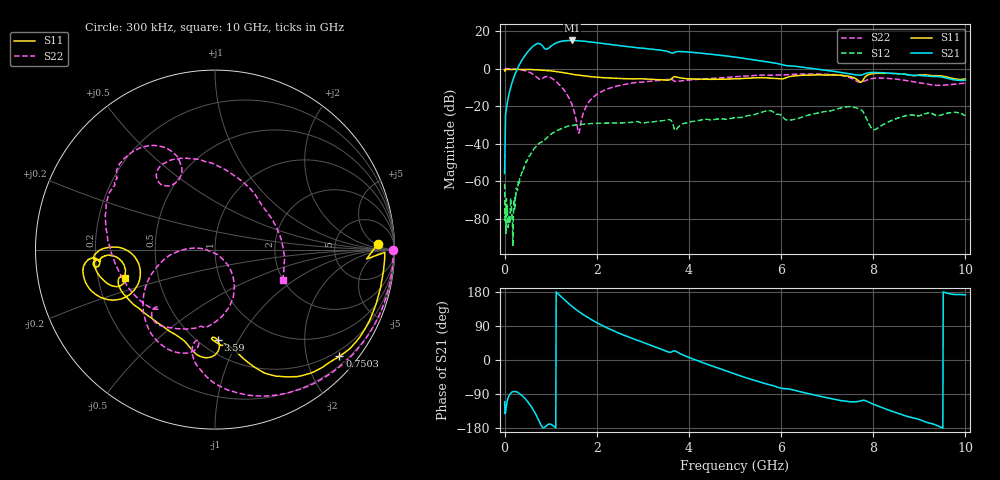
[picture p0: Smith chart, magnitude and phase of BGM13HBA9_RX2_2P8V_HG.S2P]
!Agilent Technologies,E5071C,MY46316587,B.13.01
!Date: Thu Dec 07 13:23:46 2017
!Data & Calibration Information:
!Freq	S11:SOLT2(ON)	S21:SOLT2(ON)	S12:SOLT2(ON)	S22:SOLT2(ON)
!PortZ  Port1:50+j0  Port2:50+j0
!Above PortZ is port z conversion or system Z0 setting when saving the data.
!When reading, reference impedance value at option line is always used.
# Hz S dB R 50
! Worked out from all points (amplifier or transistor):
!   1001 points, 300 kHz to 10 GHz, reference 50 ohm
!   highest |S21| = 14.9 dB at 1.46 GHz (marker M1)
!   |S21| within 3 dB of that: 1.009 GHz to 2.582 GHz (1.573 GHz wide, 87.6 % of centre) (the widest 1 of 2)
!   unconditionally stable (mu >= 1): start of sweep to end of sweep
!   at 1.66 GHz: K = 1.68, MAG = 17.3 dB, |S12| = -29.6 dB
!   at 5 GHz: K = 2.03, MAG = 10.3 dB, |S12| = -26.1 dB
!   at 10 GHz: K = 10.74, MAG = -3.9 dB, |S12| = -25.0 dB
!   lowest NFmin = 0.76 dB at 1.8 GHz
!   S11 on the Smith chart (normalised r, x): 300 kHz: 18, +6; 750.3 MHz: 0.37, -2.66; 3.59 GHz: 0.61, -0.83; 10 GHz: 0.32, -0.14
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300000  -0.84 2.0  -55.74 -110.2  -61.19 134.3  -0.06 0.0
1.00297e8  -0.49 -5.1  -13.08 -93.6  -78.00 -70.1  -0.09 -15.2
4.202874e8  -0.48 -22.1  6.17 -98.8  -52.85 -157.7  -1.02 -64.5
6.102817e8  -0.54 -32.8  11.69 -129.4  -43.46 176.5  -2.94 -93.5
6.802796e8  -0.63 -36.8  12.92 -144.1  -41.55 167.6  -4.22 -101.4
7.502775e8  -0.79 -40.6  13.25 -162.0  -39.80 159.0  -5.58 -102.3
8.302751e8  -0.95 -44.3  11.74 -178.4  -38.43 151.9  -5.15 -100.1
9.102727e8  -1.05 -48.2  10.26 -173.1  -36.94 149.1  -4.24 -112.8
1.070268e9  -1.44 -56.3  12.97 -175.0  -33.97 134.1  -5.96 -142.7
1.250262e9  -2.09 -63.8  14.53 164.3  -31.65 118.1  -10.25 -166.9
1.460256e9  -3.00 -70.3  14.91 141.8  -30.29 101.0  -19.00 175.3
1.590252e9  -3.49 -72.8  14.77 129.5  -29.84 92.2  -32.80 -146.0
1.67025e9  -3.76 -74.0  14.62 122.7  -29.65 87.9  -27.11 -56.2
1.970241e9  -4.54 -77.4  13.79 100.4  -29.17 74.1  -14.36 -57.7
2.400228e9  -5.18 -81.0  12.46 75.0  -28.95 63.5  -9.55 -77.0
3.3402e9  -5.94 -91.4  9.89 31.2  -27.88 52.2  -6.34 -113.7
3.590192e9  -5.92 -88.3  8.56 20.3  -27.23 34.9  -5.61 -128.4
4.120176e9  -5.59 -113.0  8.47 1.2  -28.01 57.5  -5.89 -147.3
5.00015e9  -5.46 -140.8  6.06 -37.1  -26.12 52.5  -4.39 173.3
6.6701e9  -3.42 -171.0  0.05 -90.9  -24.30 42.5  -2.92 133.4
8.34005e9  -2.55 -171.0  -2.41 -132.3  -28.25 29.9  -5.28 111.1
1e10  -5.55 -162.7  -6.15 171.7  -25.04 -50.4  -7.70 -23.9
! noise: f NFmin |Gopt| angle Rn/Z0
1.8e+09  0.7562  0.4622  58.04  0.1798
1.9e+09  0.78  0.4142  62.81  0.1852
2e+09  0.8437  0.3553  64.94  0.1874
2.1e+09  0.8812  0.3433  66.72  0.2077
2.2e+09  0.9029  0.4059  70.77  0.1887
2.3e+09  0.9292  0.4098  74.87  0.1924
2.4e+09  0.9462  0.3946  80.24  0.1943
2.5e+09  0.9677  0.4243  83.73  0.1962
2.6e+09  0.9865  0.4478  83.5  0.1978
2.7e+09  1.004  0.4653  84.52  0.2092
